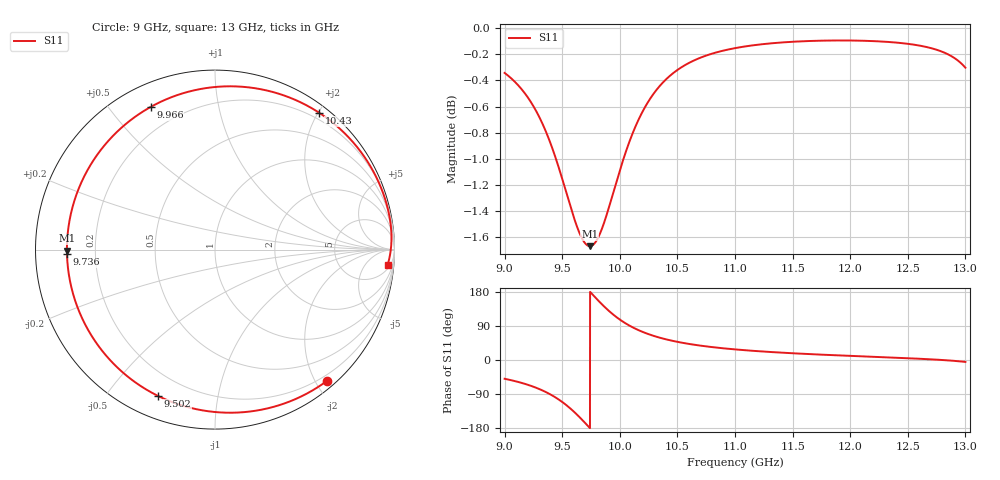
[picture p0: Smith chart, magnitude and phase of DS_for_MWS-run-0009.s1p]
! TOUCHSTONE file generated by CST DESIGN STUDIO
! Date and time: Tue Feb  4 18:13:31 2025
! Project name: C:\Work\MatlabApps\UnitCellOptimizationMatlab\CST\unitcell.cst
! Tree item: Tasks\Sweep1\SPara1\S-Parameters
! Header version: 2024
! Port assignment regex: !\s*Touchstone port\s*([0-9]+)\s*=\s*(CST MWS port|CST DES external port|CST DES block port)\s*(.+)\s* \(\"(.*)\"\)(\s*mode\s*([0-9]+))?.*
! Touchstone port assignment:
! Touchstone port 1 = CST DES external port 1 ("")
# GHz S MA R 50
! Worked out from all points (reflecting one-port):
!   4001 points, 9 GHz to 13 GHz, reference 50 ohm
!   lowest |S11| = -1.7 dB at 9.74 GHz (marker M1), VSWR 10.43, Z = 4.79 - j0.191 ohm
!   phase of S11 starts at -50 deg and turns -316 deg over the sweep
!   S11 on the Smith chart (normalised r, x): 9 GHz: 0.11, -2.16; 9.502 GHz: 0.10, -0.68; 9.736 GHz: 0.10, -0.02; 9.966 GHz: 0.10, +0.64; 10.43 GHz: 0.11, +2.01; 13 GHz: 8, -20
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9  0.9614 -49.5
9.137  0.9488 -59.5
9.265  0.9311 -72.2
9.398  0.9036 -90.9
9.5  0.8756 -110.7
9.502  0.875 -111.2
9.558  0.8584 -124.6
9.612  0.8434 -139.4
9.677  0.8299 -159.1
9.736  0.825 -178.2
9.74  0.825 -179.6
9.798  0.8291 161.5
9.862  0.8419 141.8
9.914  0.8562 127.3
9.966  0.8718 114.3
10  0.882 106.7
10.089  0.9061 89.9
10.202  0.9299 73.7
10.308  0.9458 62.3
10.426  0.9581 52.7
10.5  0.9639 47.9
10.718  0.9751 37.2
11  0.9826 28.0
11.5  0.9882 17.8
12  0.9893 10.9
12.5  0.9864 4.7
12.789  0.9799 0.2
13  0.9658 -5.0
